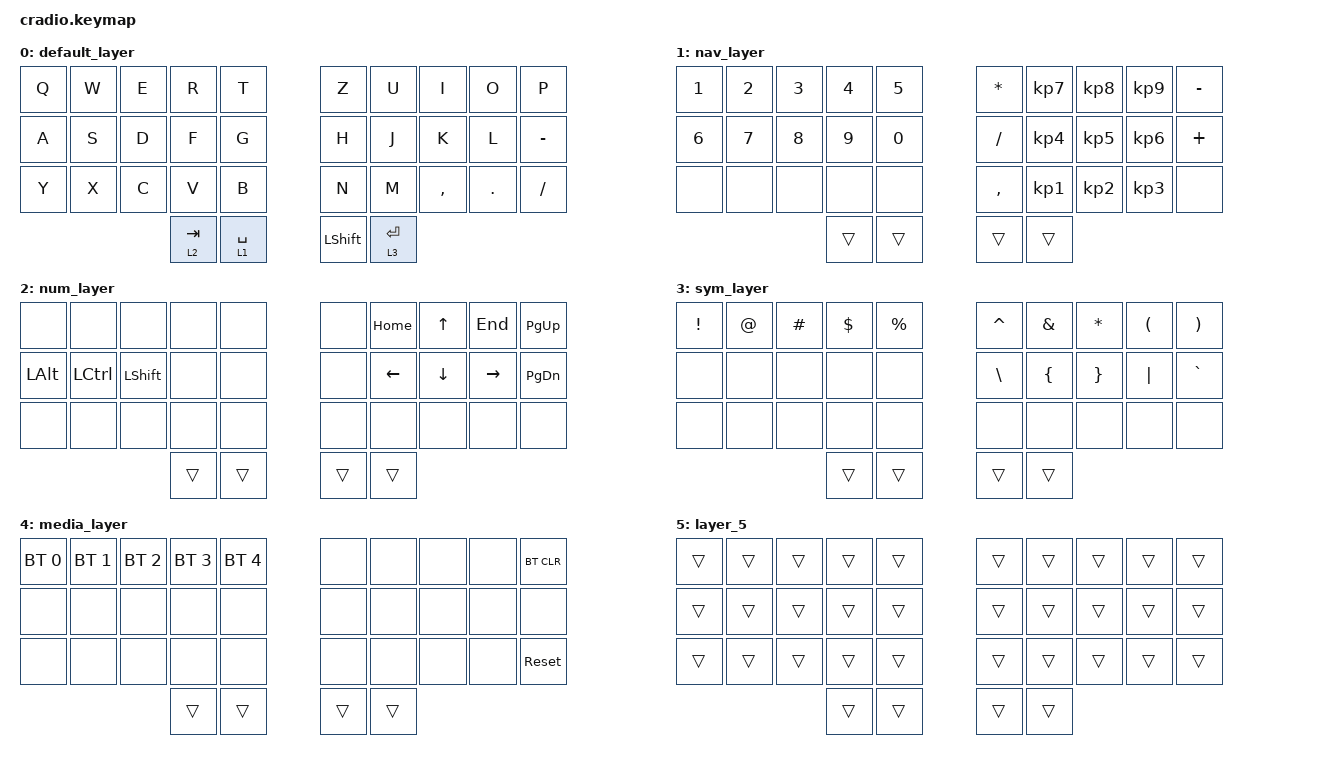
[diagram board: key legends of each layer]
#include <behaviors.dtsi>
#include <dt-bindings/zmk/bt.h>
#include <dt-bindings/zmk/keys.h>

/ {
    keymap {
        compatible = "zmk,keymap";

        // LAYER 0: BASIS (Deutsches QWERTZ)

        default_layer {
            bindings = <
&kp Q  &kp W  &kp E  &kp R      &kp T          &kp Z       &kp U        &kp I      &kp O    &kp P
&kp A  &kp S  &kp D  &kp F      &kp G          &kp H       &kp J        &kp K      &kp L    &kp MINUS
&kp Y  &kp X  &kp C  &kp V      &kp B          &kp N       &kp M        &kp COMMA  &kp DOT  &kp SLASH
                     &lt 2 TAB  &lt 1 SPACE    &kp LSHIFT  &lt 3 ENTER
            >;
        };

        // LAYER 1: ZAHLEN & UMLAUTE (Linker Daumen gedrückt halten)

        nav_layer {
            bindings = <
&kp N1  &kp N2  &kp N3  &kp N4  &kp N5    &kp ASTERISK  &kp KP_NUMBER_7  &kp KP_NUMBER_8  &kp KP_NUMBER_9  &kp MINUS
&kp N6  &kp N7  &kp N8  &kp N9  &kp N0    &kp SLASH     &kp KP_NUMBER_4  &kp KP_NUMBER_5  &kp KP_NUMBER_6  &kp PLUS
&none   &none   &none   &none   &none     &kp COMMA     &kp KP_NUMBER_1  &kp KP_NUMBER_2  &kp KP_NUMBER_3  &none
                        &trans  &trans    &trans        &trans
            >;
        };

        // LAYER 2: NAVIGATION & PFEILTASTEN (Linker Daumen äußere Taste halten)

        num_layer {
            bindings = <
&none     &none      &none       &none   &none     &none   &kp HOME  &kp UP    &kp END    &kp PG_UP
&kp LALT  &kp LCTRL  &kp LSHIFT  &none   &none     &none   &kp LEFT  &kp DOWN  &kp RIGHT  &kp PG_DN
&none     &none      &none       &none   &none     &none   &none     &none     &none      &none
                                 &trans  &trans    &trans  &trans
            >;
        };

        // LAYER 3: SYMBOLE (Rechter Daumen gedrückt halten)

        sym_layer {
            bindings = <
&kp EXCL  &kp AT  &kp HASH  &kp DLLR  &kp PRCNT    &kp CARET  &kp AMPS  &kp ASTRK  &kp LPAR  &kp RPAR
&none     &none   &none     &none     &none        &kp BSLH   &kp LBRC  &kp RBRC   &kp PIPE  &kp GRAVE
&none     &none   &none     &none     &none        &none      &none     &none      &none     &none
                            &trans    &trans       &trans     &trans
            >;
        };

        // LAYER 4: BLUETOOTH & SYSTEM (Rechter Daumen äußere Taste halten)

        media_layer {
            bindings = <
&bt BT_SEL 0  &bt BT_SEL 1  &bt BT_SEL 2  &bt BT_SEL 3  &bt BT_SEL 4    &none   &none   &none  &none  &bt BT_CLR
&none         &none         &none         &none         &none           &none   &none   &none  &none  &none
&none         &none         &none         &none         &none           &none   &none   &none  &none  &sys_reset
                                          &trans        &trans          &trans  &trans
            >;
        };

        layer_5 {
            bindings = <
&trans  &trans  &trans  &trans  &trans    &trans  &trans  &trans  &trans  &trans
&trans  &trans  &trans  &trans  &trans    &trans  &trans  &trans  &trans  &trans
&trans  &trans  &trans  &trans  &trans    &trans  &trans  &trans  &trans  &trans
                        &trans  &trans    &trans  &trans
            >;
        };
    };
};
